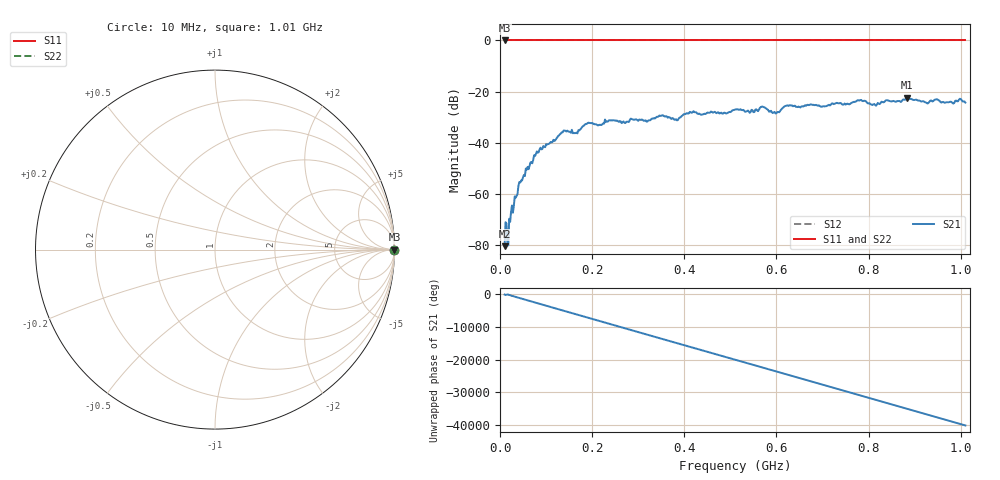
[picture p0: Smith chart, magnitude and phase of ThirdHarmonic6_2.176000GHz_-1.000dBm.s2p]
! 8/17/2025 1:57:41 AM
! C:\ANRITSUVNA\TEMP\TEMP.S2P
! CHANNEL.1
! TR.MEASUREMENT
! RAW.DATA
! RF.CORRECTION.OFF
! AVERAGING.OFF
! IF.BANDWIDTH: 5KHZ
! SWEEPTYPE:  FREQ.SWEEP(Linear)
! Reference Plane Port Info
! PORT:  PORT1  PORT2
! DISTANCE:  0  m  0  m
! TIME:  0  s  0  s
! PHASE.OFFSET:  0  deg.  0  deg.
! LOSS:  0  dB  0  dB
! REF.LOSS:  0  dB  0  dB
! REF.FREQ:  0  Hz  0  Hz
! Power Info
! POWER:  -20  dBm  -20  dBm
! EFF.POWER:  -20  dBm  -20  dBm
! SOURCE.ATTEN:  0  dB  0  dB
! TEST.ATTEN:  0  dB  0  dB
# GHZ S RI R 50.0
! FREQ.GHZ  S11RE  S11IM  S21RE  S21IM  S12RE  S12IM  S22RE  S22IM
!; PortSelection: Port_12
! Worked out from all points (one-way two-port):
!   501 points, 10 MHz to 1.01 GHz, reference 50 ohm
!   highest |S21| = -22.36 dB at 884 MHz (marker M1); lowest = -80.4 dB at 10 MHz (marker M2)
!   lowest |S11| = 0.0 dB at 10 MHz (marker M3)
!   |S11| at or under -10 dB: nowhere
!   |S22| runs from 0.0 to 0.0 dB; largest |S21 - S12| = 1.1
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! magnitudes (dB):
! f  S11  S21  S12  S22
! 10 MHz  0.0  -80.4  0.0  0.0
! 20 MHz  0.0  -69.7  0.0  0.0
! 28 MHz  0.0  -67.3  0.0  0.0
! 44 MHz  0.0  -55.5  0.0  0.0
! 78 MHz  0.0  -44.4  0.0  0.0
! 138 MHz  0.0  -35.2  0.0  0.0
! 164 MHz  0.0  -36.2  0.0  0.0
! 178 MHz  0.0  -33.9  0.0  0.0
! 194 MHz  0.0  -32.2  0.0  0.0
! 322 MHz  0.0  -31.2  0.0  0.0
! 344 MHz  0.0  -29.7  0.0  0.0
! 382 MHz  0.0  -30.8  0.0  0.0
! 416 MHz  0.0  -28.3  0.0  0.0
! 510 MHz  0.0  -27.0  0.0  0.0
! 546 MHz  0.0  -27.1  0.0  0.0
! 570 MHz  0.0  -25.9  0.0  0.0
! 596 MHz  0.0  -27.9  0.0  0.0
! 620 MHz  0.0  -25.6  0.0  0.0
! 678 MHz  0.0  -25.2  0.0  0.0
! 844 MHz  0.0  -23.6  0.0  0.0
! 884 MHz  0.0  -22.4  0.0  0.0
! 1.01 GHz  0.0  -24.3  0.0  0.0
